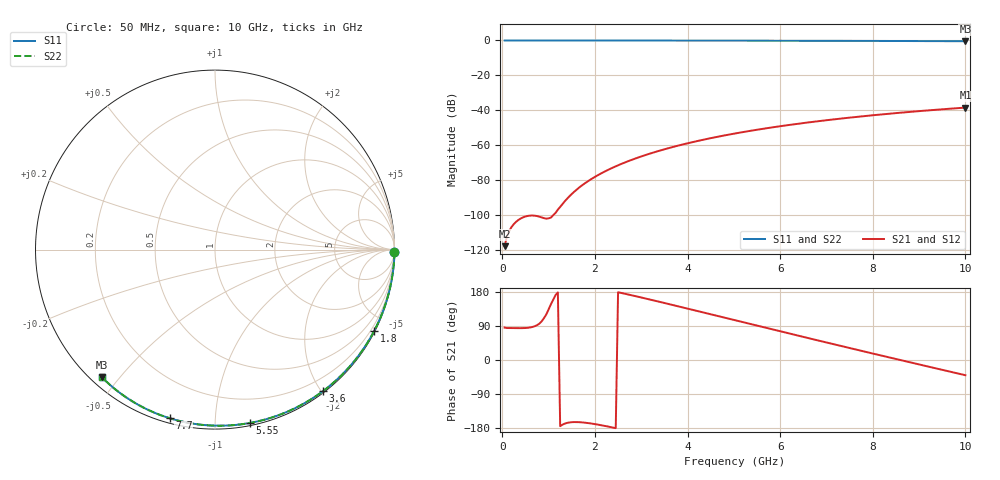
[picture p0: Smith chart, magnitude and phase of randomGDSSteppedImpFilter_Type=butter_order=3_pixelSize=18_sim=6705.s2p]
! freq	dB(S11)	phase(S11)	dB(S12)	phase(S12)
!  dB(S21)	phase(S21)	dB(S22)	phase(S22)
!S-par simulation data
#  GHz  S  DB  R 50
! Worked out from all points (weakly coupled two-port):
!   200 points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, 50 MHz to 10 GHz, reference 50 ohm
!   highest |S21| = -38.41 dB at 10 GHz (marker M1); lowest = -117.7 dB at 50 MHz (marker M2)
!   lowest |S11| = -0.4 dB at 10 GHz (marker M3), VSWR 39.21, Z = 1.53 - j22.5 ohm
!   |S11| at or under -10 dB: nowhere
!   |S22| runs from -0.4 to 0.0 dB; largest |S21 - S12| = 0
!   S11 on the Smith chart (normalised r, x): 50 MHz: open; 1.8 GHz: 0.04, -4.17; 3.6 GHz: 0.02, -2.02; 5.55 GHz: 0.02, -1.22; 7.7 GHz: 0.02, -0.77; 10 GHz: 0.03, -0.45
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0.05  -0.00 -0.8  -117.70 85.5  -117.70 85.5  -0.00 -0.8
0.9  -0.02 -13.6  -101.67 110.5  -101.67 110.5  -0.02 -13.6
1.75  -0.03 -26.2  -82.35 -164.9  -82.35 -164.9  -0.03 -26.2
1.8  -0.03 -26.9  -81.41 -165.6  -81.41 -165.6  -0.03 -26.9
1.85  -0.04 -27.7  -80.52 -166.4  -80.52 -166.4  -0.04 -27.7
1.9  -0.04 -28.4  -79.67 -167.2  -79.67 -167.2  -0.04 -28.4
2.05  -0.04 -30.6  -77.28 -170.2  -77.28 -170.2  -0.04 -30.6
2.25  -0.04 -33.5  -74.48 -174.8  -74.48 -174.8  -0.04 -33.5
2.45  -0.05 -36.4  -72.00 -179.8  -72.00 -179.8  -0.05 -36.4
2.65  -0.05 -39.3  -69.78 174.8  -69.78 174.8  -0.05 -39.3
3  -0.06 -44.3  -66.36 165.0  -66.36 165.0  -0.06 -44.3
3.4  -0.07 -49.9  -63.03 153.4  -63.03 153.4  -0.07 -49.9
3.6  -0.07 -52.7  -61.54 147.5  -61.54 147.5  -0.07 -52.7
4.3  -0.09 -62.3  -57.02 126.7  -57.02 126.7  -0.09 -62.3
5.05  -0.11 -72.2  -53.10 104.2  -53.10 104.2  -0.11 -72.2
5.55  -0.13 -78.7  -50.87 89.2  -50.87 89.2  -0.13 -78.7
6.1  -0.15 -85.7  -48.69 72.8  -48.69 72.8  -0.15 -85.7
6.7  -0.18 -93.1  -46.59 55.0  -46.59 55.0  -0.18 -93.1
7.7  -0.24 -105.1  -43.60 25.7  -43.60 25.7  -0.24 -105.1
8.35  -0.29 -112.7  -41.92 6.9  -41.92 6.9  -0.29 -112.7
9.15  -0.36 -121.9  -40.10 -16.0  -40.10 -16.0  -0.36 -121.9
10  -0.44 -131.5  -38.41 -40.2  -38.41 -40.2  -0.44 -131.5
